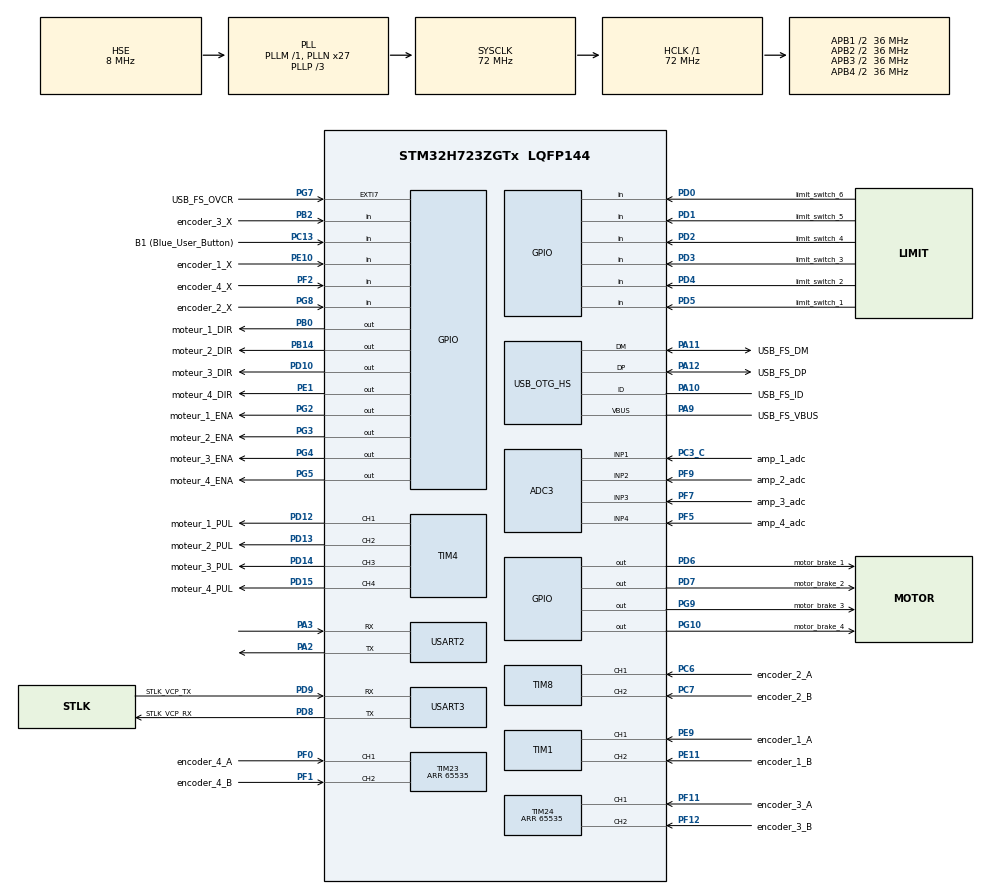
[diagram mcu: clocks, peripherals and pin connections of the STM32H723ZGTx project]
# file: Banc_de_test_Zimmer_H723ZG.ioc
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ADC3.Channel-0\#ChannelRegularConversion=ADC_CHANNEL_1
ADC3.NbrOfConversionFlag=1
ADC3.OffsetNumber-0\#ChannelRegularConversion=ADC_OFFSET_NONE
ADC3.OffsetSign-0\#ChannelRegularConversion=ADC3_OFFSET_SIGN_NEGATIVE
ADC3.Rank-0\#ChannelRegularConversion=1
ADC3.SamplingTime-0\#ChannelRegularConversion=ADC3_SAMPLETIME_2CYCLES_5
Mcu.Family=STM32H7
Mcu.Name=STM32H723ZGTx
Mcu.Package=LQFP144
NVIC.PriorityGroup=NVIC_PRIORITYGROUP_4
PA10.GPIO_Label=USB_FS_ID
PA10.Mode=OTG/Dual-Role-Device-FS
PA10.Signal=USB_OTG_HS_ID
PA11.GPIO_Label=USB_FS_DM
PA11.Mode=OTG/Dual-Role-Device-FS
PA11.Signal=USB_OTG_HS_DM
PA12.GPIO_Label=USB_FS_DP
PA12.Mode=OTG/Dual-Role-Device-FS
PA12.Signal=USB_OTG_HS_DP
PA13(JTMS/SWDIO).GPIO_Label=SWDIO
PA13(JTMS/SWDIO).Mode=Trace_Asynchronous_SW
PA13(JTMS/SWDIO).Signal=DEBUG_JTMS-SWDIO
PA14(JTCK/SWCLK).GPIO_Label=SWCLK
PA14(JTCK/SWCLK).Mode=Trace_Asynchronous_SW
PA14(JTCK/SWCLK).Signal=DEBUG_JTCK-SWCLK
PA2.Mode=Asynchronous
PA2.Signal=USART2_TX
PA3.Mode=Asynchronous
PA3.Signal=USART2_RX
PA9.GPIO_Label=USB_FS_VBUS
PA9.Mode=Activate_VBUS_FS
PA9.Signal=USB_OTG_HS_VBUS
PB0.GPIO_Label=moteur_1_DIR
PB0.Signal=GPIO_Output
PB14.GPIO_Label=moteur_2_DIR
PB14.Signal=GPIO_Output
PB2.GPIO_Label=encoder_3_X
PB2.Signal=GPIO_Input
PB3(JTDO/TRACESWO).GPIO_Label=SWO
PB3(JTDO/TRACESWO).Mode=Trace_Asynchronous_SW
PB3(JTDO/TRACESWO).Signal=DEBUG_JTDO-SWO
PC13.GPIO_Label=B1 (Blue_User_Button)
PC13.Signal=GPIO_Input
PC14-OSC32_IN.Mode=LSE-External-Oscillator
PC14-OSC32_IN.Signal=RCC_OSC32_IN
PC15-OSC32_OUT.Mode=LSE-External-Oscillator
PC15-OSC32_OUT.Signal=RCC_OSC32_OUT
PC3_C.GPIO_Label=amp_1_adc
PC3_C.Mode=IN1-Single-Ended
PC3_C.Signal=ADC3_INP1
PC6.GPIO_Label=encoder_2_A
PC6.Signal=S_TIM8_CH1
PC7.GPIO_Label=encoder_2_B
PC7.Signal=S_TIM8_CH2
PD0.GPIO_Label=limit_switch_6
PD0.Signal=GPIO_Input
PD1.GPIO_Label=limit_switch_5
PD1.Signal=GPIO_Input
PD10.GPIO_Label=moteur_3_DIR
PD10.Signal=GPIO_Output
PD12.GPIO_Label=moteur_1_PUL
PD12.Signal=S_TIM4_CH1
PD13.GPIO_Label=moteur_2_PUL
PD13.Signal=S_TIM4_CH2
PD14.GPIO_Label=moteur_3_PUL
PD14.Signal=S_TIM4_CH3
PD15.GPIO_Label=moteur_4_PUL
PD15.Signal=S_TIM4_CH4
PD2.GPIO_Label=limit_switch_4
PD2.Signal=GPIO_Input
PD3.GPIO_Label=limit_switch_3
PD3.Signal=GPIO_Input
PD4.GPIO_Label=limit_switch_2
PD4.Signal=GPIO_Input
PD5.GPIO_Label=limit_switch_1
PD5.Signal=GPIO_Input
PD6.GPIO_Label=motor_brake_1
PD6.Signal=GPIO_Output
PD7.GPIO_Label=motor_brake_2
PD7.Signal=GPIO_Output
PD8.GPIO_Label=STLK_VCP_RX
PD8.Mode=Asynchronous
PD8.Signal=USART3_TX
PD9.GPIO_Label=STLK_VCP_TX
PD9.Mode=Asynchronous
PD9.Signal=USART3_RX
PE1.GPIO_Label=moteur_4_DIR
PE1.Signal=GPIO_Output
PE10.GPIO_Label=encoder_1_X
PE10.Signal=GPIO_Input
PE11.GPIO_Label=encoder_1_B
PE11.Signal=S_TIM1_CH2
PE9.GPIO_Label=encoder_1_A
PE9.Signal=S_TIM1_CH1
PF0.GPIO_Label=encoder_4_A
PF0.Mode=Encoder_Interface
PF0.Signal=TIM23_CH1
PF1.GPIO_Label=encoder_4_B
PF1.Signal=S_TIM23_CH2
PF11.GPIO_Label=encoder_3_A
PF11.Mode=Encoder_Interface
PF11.Signal=TIM24_CH1
PF12.GPIO_Label=encoder_3_B
PF12.Signal=S_TIM24_CH2
PF2.GPIO_Label=encoder_4_X
PF2.Signal=GPIO_Input
PF5.GPIO_Label=amp_4_adc
PF5.Mode=IN4-Single-Ended
PF5.Signal=ADC3_INP4
PF7.GPIO_Label=amp_3_adc
PF7.Mode=IN3-Single-Ended
PF7.Signal=ADC3_INP3
PF9.GPIO_Label=amp_2_adc
PF9.Mode=IN2-Single-Ended
PF9.Signal=ADC3_INP2
PG10.GPIO_Label=motor_brake_4
PG10.Signal=GPIO_Output
PG2.GPIO_Label=moteur_1_ENA
PG2.Signal=GPIO_Output
PG3.GPIO_Label=moteur_2_ENA
PG3.Signal=GPIO_Output
PG4.GPIO_Label=moteur_3_ENA
PG4.Signal=GPIO_Output
PG5.GPIO_Label=moteur_4_ENA
PG5.Signal=GPIO_Output
PG7.GPIO_Label=USB_FS_OVCR
PG7.Signal=GPXTI7
PG8.GPIO_Label=encoder_2_X
PG8.Signal=GPIO_Input
PG9.GPIO_Label=motor_brake_3
PG9.Signal=GPIO_Output
PH0-OSC_IN.GPIO_Label=MCO
PH0-OSC_IN.Mode=HSE-External-Oscillator
PH0-OSC_IN.Signal=RCC_OSC_IN
PH1-OSC_OUT.Mode=HSE-External-Oscillator
PH1-OSC_OUT.Signal=RCC_OSC_OUT
ProjectManager.HeapSize=0x200
ProjectManager.StackSize=0x400
ProjectManager.TargetToolchain=MDK-ARM V5.32
RCC.ADCFreq_Value=38400000
RCC.APB1Freq_Value=36000000
RCC.APB2Freq_Value=36000000
RCC.APB3Freq_Value=36000000
RCC.APB4Freq_Value=36000000
RCC.CortexFreq_Value=72000000
RCC.D1PPRE=RCC_APB3_DIV2
RCC.D2PPRE1=RCC_APB1_DIV2
RCC.D2PPRE2=RCC_APB2_DIV2
RCC.D3PPRE=RCC_APB4_DIV2
RCC.DIVM1=1
RCC.DIVM2=1
RCC.DIVN1=27
RCC.DIVN2=24
RCC.DIVP1=3
RCC.DIVP2=5
RCC.DIVQ1=4
RCC.HCLKFreq_Value=72000000
RCC.HSE_VALUE=8000000
RCC.PLL2FRACN=0
RCC.PLLFRACN=0
RCC.PLLSourceVirtual=RCC_PLLSOURCE_HSE
RCC.SYSCLKFreq_VALUE=72000000
RCC.SYSCLKSource=RCC_SYSCLKSOURCE_PLLCLK
RCC.USBCLockSelection=RCC_USBCLKSOURCE_HSI48
RCC.USBFreq_Value=48000000
SH.S_TIM1_CH1.0=TIM1_CH1,Encoder_Interface
SH.S_TIM1_CH2.0=TIM1_CH2,Encoder_Interface
SH.S_TIM23_CH2.0=TIM23_CH2,Encoder_Interface
SH.S_TIM24_CH2.0=TIM24_CH2,Encoder_Interface
SH.S_TIM4_CH1.0=TIM4_CH1,PWM Generation1 CH1
SH.S_TIM4_CH2.0=TIM4_CH2,PWM Generation2 CH2
SH.S_TIM4_CH3.0=TIM4_CH3,PWM Generation3 CH3
SH.S_TIM4_CH4.0=TIM4_CH4,PWM Generation4 CH4
SH.S_TIM8_CH1.0=TIM8_CH1,Encoder_Interface
SH.S_TIM8_CH2.0=TIM8_CH2,Encoder_Interface
TIM1.AutoReloadPreload=TIM_AUTORELOAD_PRELOAD_ENABLE
TIM1.EncoderMode=TIM_ENCODERMODE_TI12
TIM1.IC1Filter=10
TIM23.AutoReloadPreload=TIM_AUTORELOAD_PRELOAD_ENABLE
TIM23.EncoderMode=TIM_ENCODERMODE_TI12
TIM23.IC1Filter=10
TIM23.Period=65535
TIM24.AutoReloadPreload=TIM_AUTORELOAD_PRELOAD_ENABLE
TIM24.EncoderMode=TIM_ENCODERMODE_TI12
TIM24.IC1Filter=10
TIM24.Period=65535
TIM4.Channel-PWM\ Generation1\ CH1=TIM_CHANNEL_1
TIM4.Channel-PWM\ Generation2\ CH2=TIM_CHANNEL_2
TIM4.Channel-PWM\ Generation3\ CH3=TIM_CHANNEL_3
TIM4.Channel-PWM\ Generation4\ CH4=TIM_CHANNEL_4
TIM8.AutoReloadPreload=TIM_AUTORELOAD_PRELOAD_ENABLE
TIM8.EncoderMode=TIM_ENCODERMODE_TI12
TIM8.IC1Filter=10
USART2.VirtualMode-Asynchronous=VM_ASYNC
USART3.VirtualMode-Asynchronous=VM_ASYNC
VP_TIM4_VS_ClockSourceINT.Mode=Internal
board=NUCLEO-H723ZG

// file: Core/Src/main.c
/* USER CODE BEGIN Header */
/**
  ******************************************************************************
  * @file           : main.c
  * @brief          : Main program body
  ******************************************************************************
  * @attention
  *
  * Copyright (c) 2023 STMicroelectronics.
  * All rights reserved.
  *
  * This software is licensed under terms that can be found in the LICENSE file
  * in the root directory of this software component.
  * If no LICENSE file comes with this software, it is provided AS-IS.
  *
  ******************************************************************************
  */
/* USER CODE END Header */
#include "main.h"
#include "adc.h"
#include "tim.h"
#include "usart.h"
#include "usb_otg.h"
#include "gpio.h"

/* USER CODE BEGIN Includes */
#include "stdio.h"

/* USER CODE END Includes */

/* USER CODE BEGIN PTD */
#ifndef __GNUC__
#define PUTCHAR_PROTOTYPE int __io_putchar(int ch)
#else
#define PUTCHAR_PROTOTYPE int fputc(int ch, FILE *f)
#endif /* __GNUC__ */
/* USER CODE END PTD */

void SystemClock_Config(void);
/* USER CODE BEGIN PFP */
/**
* @brief Retargets the C library printf function to the USART.
* @param None
* @retval None
*/

PUTCHAR_PROTOTYPE
{
/* Place your implementation of fputc here */
/* e.g. write a character to the USART2 and Loop until the end
of transmission */
HAL_UART_Transmit(&huart2, (uint8_t *)&ch, 1, 0xFFFF);
return ch;
}
/* USER CODE END PFP */

int main(void)
{

  /* MCU Configuration--------------------------------------------------------*/

  /* Reset of all peripherals, Initializes the Flash interface and the Systick. */
  HAL_Init();

  /* Configure the system clock */
  SystemClock_Config();

  /* Initialize all configured peripherals */
  MX_GPIO_Init();
  MX_USART3_UART_Init();
  MX_USB_OTG_HS_USB_Init();
  MX_ADC3_Init();
  MX_TIM1_Init();
  MX_TIM4_Init();
  MX_TIM8_Init();
  MX_TIM23_Init();
  MX_TIM24_Init();
  MX_USART2_UART_Init();
  /* USER CODE BEGIN 2 */

	int flag_accel = 0;
  TIM4->ARR = 720000;                       //setting pulse frequency (72MHz/ARR)
	TIM4->CCR1 = (TIM4->ARR)/2;               //setting motor 1 duty cycle to 50%

	HAL_TIM_PWM_Start(&htim4, TIM_CHANNEL_1); //TIM4_CH1 -> moteur_1_PUL
  /* USER CODE END 2 */

  /* Infinite loop */
  while (1)
  {
    /* USER CODE BEGIN 3 */

    if (TIM4->ARR<=72000)                       //if speed is 0, changes direction
    {
      flag_accel = 0;
    }
    else if (TIM4->ARR >= 72000000)
    {
      HAL_GPIO_TogglePin(GPIOB,0);
      flag_accel = 1;
      HAL_GPIO_TogglePin(GPIOB,0);
    }

    if (flag_accel = 1)
    {
      TIM4->ARR -= 10000;                    //frequency increases
    }
    else
    {
	    TIM4->ARR += 10000;                    //frequency decreases
    }

    TIM4->CCR1 = (TIM4->ARR)/2;             //setting motor 1 duty cycle to 50%
    HAL_Delay(50;)
  }
  /* USER CODE END 3 */
}

void SystemClock_Config(void)
{
  RCC_OscInitTypeDef RCC_OscInitStruct = {0};
  RCC_ClkInitTypeDef RCC_ClkInitStruct = {0};

  /** Supply configuration update enable
  */
  HAL_PWREx_ConfigSupply(PWR_LDO_SUPPLY);

  /** Configure the main internal regulator output voltage
  */
  __HAL_PWR_VOLTAGESCALING_CONFIG(PWR_REGULATOR_VOLTAGE_SCALE3);

  while(!__HAL_PWR_GET_FLAG(PWR_FLAG_VOSRDY)) {}

  /** Macro to configure the PLL clock source
  */
  __HAL_RCC_PLL_PLLSOURCE_CONFIG(RCC_PLLSOURCE_HSE);

  /** Initializes the RCC Oscillators according to the specified parameters
  * in the RCC_OscInitTypeDef structure.
  */
  RCC_OscInitStruct.OscillatorType = RCC_OSCILLATORTYPE_HSI48|RCC_OSCILLATORTYPE_HSE;
  RCC_OscInitStruct.HSEState = RCC_HSE_ON;
  RCC_OscInitStruct.HSI48State = RCC_HSI48_ON;
  RCC_OscInitStruct.PLL.PLLState = RCC_PLL_ON;
  RCC_OscInitStruct.PLL.PLLSource = RCC_PLLSOURCE_HSE;
  RCC_OscInitStruct.PLL.PLLM = 1;
  RCC_OscInitStruct.PLL.PLLN = 27;
  RCC_OscInitStruct.PLL.PLLP = 3;
  RCC_OscInitStruct.PLL.PLLQ = 4;
  RCC_OscInitStruct.PLL.PLLR = 2;
  RCC_OscInitStruct.PLL.PLLRGE = RCC_PLL1VCIRANGE_3;
  RCC_OscInitStruct.PLL.PLLVCOSEL = RCC_PLL1VCOWIDE;
  RCC_OscInitStruct.PLL.PLLFRACN = 0;
  if (HAL_RCC_OscConfig(&RCC_OscInitStruct) != HAL_OK)
  {
    Error_Handler();
  }

  /** Initializes the CPU, AHB and APB buses clocks
  */
  RCC_ClkInitStruct.ClockType = RCC_CLOCKTYPE_HCLK|RCC_CLOCKTYPE_SYSCLK
                              |RCC_CLOCKTYPE_PCLK1|RCC_CLOCKTYPE_PCLK2
                              |RCC_CLOCKTYPE_D3PCLK1|RCC_CLOCKTYPE_D1PCLK1;
  RCC_ClkInitStruct.SYSCLKSource = RCC_SYSCLKSOURCE_PLLCLK;
  RCC_ClkInitStruct.SYSCLKDivider = RCC_SYSCLK_DIV1;
  RCC_ClkInitStruct.AHBCLKDivider = RCC_HCLK_DIV1;
  RCC_ClkInitStruct.APB3CLKDivider = RCC_APB3_DIV2;
  RCC_ClkInitStruct.APB1CLKDivider = RCC_APB1_DIV2;
  RCC_ClkInitStruct.APB2CLKDivider = RCC_APB2_DIV2;
  RCC_ClkInitStruct.APB4CLKDivider = RCC_APB4_DIV2;

  if (HAL_RCC_ClockConfig(&RCC_ClkInitStruct, FLASH_LATENCY_2) != HAL_OK)
  {
    Error_Handler();
  }
}

void Error_Handler(void)
{
  __disable_irq();
  while (1)
  {
  }
}
